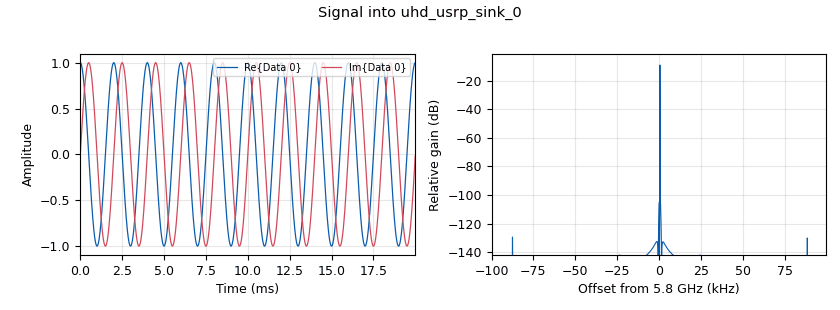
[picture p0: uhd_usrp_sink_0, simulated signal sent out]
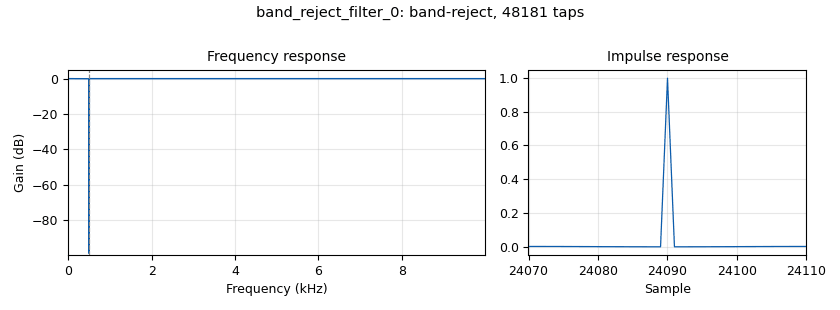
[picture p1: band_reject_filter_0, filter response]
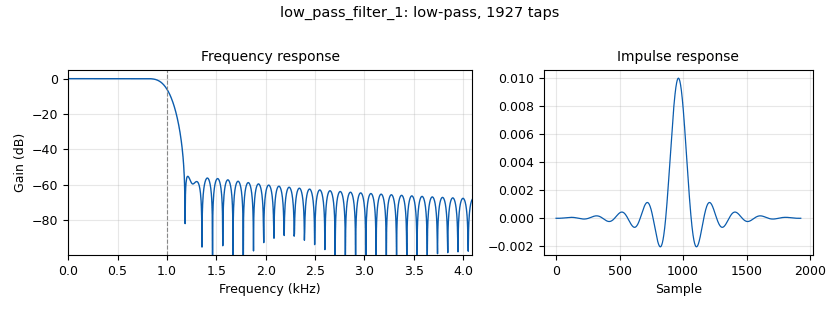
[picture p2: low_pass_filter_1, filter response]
options:
  parameters:
    author: sdr
    generate_options: qt_gui
    id: find_new_name
    output_language: python
    title: Not titled yet
  states: {}

blocks:
- name: audio_range
  id: variable_qtgui_range
  parameters:
    start: '0'
    step: '1'
    stop: '100'
    value: '50'
  states: {}
- name: center_freq
  id: variable
  parameters:
    value: 5.8e9
  states: {}
- name: rx_gain
  id: variable_qtgui_range
  parameters:
    start: '0'
    step: '1'
    stop: '30'
    value: '15'
  states: {}
- name: samp_rate
  id: variable
  parameters:
    value: 200e3
  states: {}
- name: tx_gain
  id: variable_qtgui_range
  parameters:
    start: '0'
    step: '1'
    stop: '50'
    value: '50'
  states: {}
- name: analog_sig_source_x_0
  id: analog_sig_source_x
  parameters:
    amp: '1'
    freq: '500'
    offset: '0'
    phase: '0'
    samp_rate: samp_rate
    type: complex
    waveform: analog.GR_COS_WAVE
  states: {}
- name: audio_sink_0
  id: audio_sink
  parameters:
    samp_rate: '48000'
  states: {}
- name: band_reject_filter_0
  id: band_reject_filter
  parameters:
    decim: '1'
    gain: '1'
    high_cutoff_freq: '505'
    low_cutoff_freq: '495'
    samp_rate: int(samp_rate / 10)
    type: fir_filter_ccf
    width: '1'
    win: window.WIN_HAMMING
  states: {}
- name: blocks_complex_to_float_0
  id: blocks_complex_to_float
  parameters: {}
  states: {}
- name: blocks_multiply_const_vxx_0
  id: blocks_multiply_const_vxx
  parameters:
    const: audio_range
    type: complex
  states: {}
- name: low_pass_filter_1
  id: low_pass_filter
  parameters:
    cutoff_freq: 1e3
    decim: '4'
    gain: '1'
    samp_rate: samp_rate
    type: fir_filter_ccf
    width: '250'
    win: window.WIN_HAMMING
  states: {}
- name: qtgui_freq_sink_x_0
  id: qtgui_freq_sink_x
  parameters:
    bw: samp_rate / 10
    fc: '0'
    fftsize: '32768'
    norm_window: 'True'
    type: complex
    wintype: window.WIN_HAMMING
  states: {}
- name: talYaliStav_theBestBlock_0
  id: talYaliStav_theBestBlock
  parameters:
    epsilon: '1e-8'
    fs: samp_rate / 10
    norm_factor: '200'
    samples_len: '15000'
  states: {}
- name: uhd_usrp_sink_0
  id: uhd_usrp_sink
  parameters:
    ant0: '"TX/RX"'
    center_freq0: center_freq
    gain0: tx_gain
    samp_rate: samp_rate
    sync: sync
    type: fc32
  states: {}
- name: uhd_usrp_source_0
  id: uhd_usrp_source
  parameters:
    ant0: '"RX2"'
    center_freq0: center_freq
    gain0: rx_gain
    samp_rate: samp_rate
    sync: sync
    type: fc32
  states: {}

connections:
- [analog_sig_source_x_0, '0', uhd_usrp_sink_0, '0']
- [band_reject_filter_0, '0', blocks_multiply_const_vxx_0, '0']
- [band_reject_filter_0, '0', qtgui_freq_sink_x_0, '0']
- [band_reject_filter_0, '0', talYaliStav_theBestBlock_0, '0']
- [blocks_complex_to_float_0, '0', audio_sink_0, '0']
- [blocks_multiply_const_vxx_0, '0', blocks_complex_to_float_0, '0']
- [low_pass_filter_1, '0', band_reject_filter_0, '0']
- [uhd_usrp_source_0, '0', low_pass_filter_1, '0']

metadata:
  file_format: 1
  grc_version: 3.10.9.2
